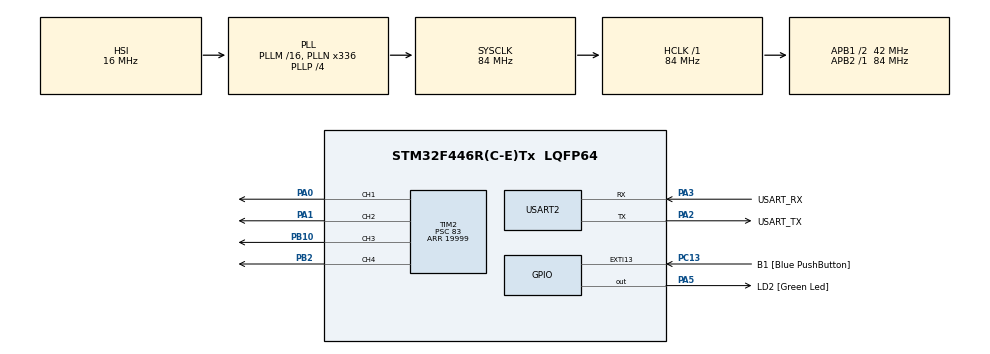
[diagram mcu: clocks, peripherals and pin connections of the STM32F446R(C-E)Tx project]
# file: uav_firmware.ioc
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Mcu.Family=STM32F4
Mcu.Name=STM32F446R(C-E)Tx
Mcu.Package=LQFP64
NVIC.PriorityGroup=NVIC_PRIORITYGROUP_0
PA0-WKUP.Signal=S_TIM2_CH1_ETR
PA1.Signal=S_TIM2_CH2
PA13.GPIO_Label=TMS
PA13.Mode=Serial_Wire
PA13.Signal=SYS_JTMS-SWDIO
PA14.GPIO_Label=TCK
PA14.Mode=Serial_Wire
PA14.Signal=SYS_JTCK-SWCLK
PA2.GPIO_Label=USART_TX
PA2.Mode=Asynchronous
PA2.Signal=USART2_TX
PA3.GPIO_Label=USART_RX
PA3.Mode=Asynchronous
PA3.Signal=USART2_RX
PA5.GPIO_Label=LD2 [Green Led]
PA5.Signal=GPIO_Output
PB10.Signal=S_TIM2_CH3
PB2.Signal=S_TIM2_CH4
PB3.GPIO_Label=SWO
PB3.Signal=SYS_JTDO-SWO
PC13.GPIO_Label=B1 [Blue PushButton]
PC13.GPIO_ModeDefaultEXTI=GPIO_MODE_IT_FALLING
PC13.Signal=GPXTI13
PC14-OSC32_IN.Mode=LSE-External-Oscillator
PC14-OSC32_IN.Signal=RCC_OSC32_IN
PC15-OSC32_OUT.Mode=LSE-External-Oscillator
PC15-OSC32_OUT.Signal=RCC_OSC32_OUT
PH0-OSC_IN.Mode=HSE-External-Oscillator
PH0-OSC_IN.Signal=RCC_OSC_IN
PH1-OSC_OUT.Mode=HSE-External-Oscillator
PH1-OSC_OUT.Signal=RCC_OSC_OUT
ProjectManager.HeapSize=0x200
ProjectManager.StackSize=0x400
ProjectManager.TargetToolchain=STM32CubeIDE
RCC.48MHZClocksFreq_Value=84000000
RCC.AHBFreq_Value=84000000
RCC.APB1CLKDivider=RCC_HCLK_DIV2
RCC.APB1Freq_Value=42000000
RCC.APB1TimFreq_Value=84000000
RCC.APB2Freq_Value=84000000
RCC.APB2TimFreq_Value=84000000
RCC.CortexFreq_Value=84000000
RCC.FLatency-AdvancedSettings=FLASH_LATENCY_2
RCC.HCLKFreq_Value=84000000
RCC.HSE_VALUE=8000000
RCC.HSI_VALUE=16000000
RCC.PLLN=336
RCC.PLLP=RCC_PLLP_DIV4
RCC.SYSCLKFreq_VALUE=84000000
RCC.SYSCLKSource=RCC_SYSCLKSOURCE_PLLCLK
RCC.USBFreq_Value=168000000
RCC.VCOOutputFreq_Value=336000000
SH.S_TIM2_CH1_ETR.0=TIM2_CH1,PWM Generation1 CH1
SH.S_TIM2_CH2.0=TIM2_CH2,PWM Generation2 CH2
SH.S_TIM2_CH3.0=TIM2_CH3,PWM Generation3 CH3
SH.S_TIM2_CH4.0=TIM2_CH4,PWM Generation4 CH4
TIM2.Channel-PWM\ Generation1\ CH1=TIM_CHANNEL_1
TIM2.Channel-PWM\ Generation2\ CH2=TIM_CHANNEL_2
TIM2.Channel-PWM\ Generation3\ CH3=TIM_CHANNEL_3
TIM2.Channel-PWM\ Generation4\ CH4=TIM_CHANNEL_4
TIM2.Period=19999
TIM2.Prescaler=83
USART2.VirtualMode=VM_ASYNC
VP_TIM2_VS_ClockSourceINT.Mode=Internal
board=NUCLEO-F446RE

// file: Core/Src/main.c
/* USER CODE BEGIN Header */
/**
  ******************************************************************************
  * @file           : main.c
  * @brief          : Main program body
  ******************************************************************************
  * @attention
  *
  * Copyright (c) 2026 STMicroelectronics.
  * All rights reserved.
  *
  * This software is licensed under terms that can be found in the LICENSE file
  * in the root directory of this software component.
  * If no LICENSE file comes with this software, it is provided AS-IS.
  *
  ******************************************************************************
  */
/* USER CODE END Header */
#include "main.h"

/* USER CODE BEGIN Includes */
#include <string.h>
#include <stdio.h>

/* USER CODE END Includes */

TIM_HandleTypeDef htim2;

UART_HandleTypeDef huart2;

/* USER CODE BEGIN PV */
uint8_t rx_byte;
char rx_buffer[64];
uint8_t rx_index = 0;

uint16_t throttle_pwm = 1500;
uint16_t roll_pwm     = 1500;
uint16_t pitch_pwm    = 1500;
uint16_t yaw_pwm      = 1500;
/* USER CODE END PV */

void SystemClock_Config(void);
static void MX_GPIO_Init(void);
static void MX_USART2_UART_Init(void);
static void MX_TIM2_Init(void);
/* USER CODE BEGIN PFP */
void Process_Controller_UART(void);
void Parse_Controller_Message(char *msg);
void Set_Ailerons_From_Roll(uint16_t roll);
void Set_Ruddervators(uint16_t pitch, uint16_t yaw);
uint16_t clamp_pwm(int value);
/* USER CODE END PFP */

int main(void)
{

  /* MCU Configuration--------------------------------------------------------*/

  /* Reset of all peripherals, Initializes the Flash interface and the Systick. */
  HAL_Init();

  /* Configure the system clock */
  SystemClock_Config();

  /* Initialize all configured peripherals */
  MX_GPIO_Init();
  MX_USART2_UART_Init();
  MX_TIM2_Init();
  /* USER CODE BEGIN 2 */

  HAL_TIM_PWM_Start(&htim2, TIM_CHANNEL_1); // Left Wing Aileron Servo
  HAL_TIM_PWM_Start(&htim2, TIM_CHANNEL_2); // Right Wing Aileron Servo
  HAL_TIM_PWM_START(&htim2, TIM_CHANNEL_3); // Ruddervator 1
  HAL_TIM_PWM_START(&htim2, TIM_CHANNEL_4); // Ruddervator 2
  // Initialize to default/neutral position immediately
  __HAL_TIM_SET_COMPARE(&htim2, TIM_CHANNEL_1, 1500);
  __HAL_TIM_SET_COMPARE(&htim2, TIM_CHANNEL_2, 1500 );
  __HAL_TIM_SET_COMPARE(&htim2, TIM_CHANNEL_3, 1500);
  __HAL_TIM_SET_COMPARE(&htim2, TIM_CHANNEL_4, 1500);

  //

  /* USER CODE END 2 */

  /* Infinite loop */
  while (1)
  {

  }
}

void SystemClock_Config(void)
{
  RCC_OscInitTypeDef RCC_OscInitStruct = {0};
  RCC_ClkInitTypeDef RCC_ClkInitStruct = {0};

  /** Configure the main internal regulator output voltage
  */
  __HAL_RCC_PWR_CLK_ENABLE();
  __HAL_PWR_VOLTAGESCALING_CONFIG(PWR_REGULATOR_VOLTAGE_SCALE3);

  /** Initializes the RCC Oscillators according to the specified parameters
  * in the RCC_OscInitTypeDef structure.
  */
  RCC_OscInitStruct.OscillatorType = RCC_OSCILLATORTYPE_HSI;
  RCC_OscInitStruct.HSIState = RCC_HSI_ON;
  RCC_OscInitStruct.HSICalibrationValue = RCC_HSICALIBRATION_DEFAULT;
  RCC_OscInitStruct.PLL.PLLState = RCC_PLL_ON;
  RCC_OscInitStruct.PLL.PLLSource = RCC_PLLSOURCE_HSI;
  RCC_OscInitStruct.PLL.PLLM = 16;
  RCC_OscInitStruct.PLL.PLLN = 336;
  RCC_OscInitStruct.PLL.PLLP = RCC_PLLP_DIV4;
  RCC_OscInitStruct.PLL.PLLQ = 2;
  RCC_OscInitStruct.PLL.PLLR = 2;
  if (HAL_RCC_OscConfig(&RCC_OscInitStruct) != HAL_OK)
  {
    Error_Handler();
  }

  /** Initializes the CPU, AHB and APB buses clocks
  */
  RCC_ClkInitStruct.ClockType = RCC_CLOCKTYPE_HCLK|RCC_CLOCKTYPE_SYSCLK
                              |RCC_CLOCKTYPE_PCLK1|RCC_CLOCKTYPE_PCLK2;
  RCC_ClkInitStruct.SYSCLKSource = RCC_SYSCLKSOURCE_PLLCLK;
  RCC_ClkInitStruct.AHBCLKDivider = RCC_SYSCLK_DIV1;
  RCC_ClkInitStruct.APB1CLKDivider = RCC_HCLK_DIV2;
  RCC_ClkInitStruct.APB2CLKDivider = RCC_HCLK_DIV1;

  if (HAL_RCC_ClockConfig(&RCC_ClkInitStruct, FLASH_LATENCY_2) != HAL_OK)
  {
    Error_Handler();
  }
}

static void MX_TIM2_Init(void)
{

  TIM_ClockConfigTypeDef sClockSourceConfig = {0};
  TIM_MasterConfigTypeDef sMasterConfig = {0};
  TIM_OC_InitTypeDef sConfigOC = {0};

  htim2.Instance = TIM2;
  htim2.Init.Prescaler = 83;
  htim2.Init.CounterMode = TIM_COUNTERMODE_UP;
  htim2.Init.Period = 19999;
  htim2.Init.ClockDivision = TIM_CLOCKDIVISION_DIV1;
  htim2.Init.AutoReloadPreload = TIM_AUTORELOAD_PRELOAD_DISABLE;
  if (HAL_TIM_Base_Init(&htim2) != HAL_OK)
  {
    Error_Handler();
  }
  sClockSourceConfig.ClockSource = TIM_CLOCKSOURCE_INTERNAL;
  if (HAL_TIM_ConfigClockSource(&htim2, &sClockSourceConfig) != HAL_OK)
  {
    Error_Handler();
  }
  if (HAL_TIM_PWM_Init(&htim2) != HAL_OK)
  {
    Error_Handler();
  }
  sMasterConfig.MasterOutputTrigger = TIM_TRGO_RESET;
  sMasterConfig.MasterSlaveMode = TIM_MASTERSLAVEMODE_DISABLE;
  if (HAL_TIMEx_MasterConfigSynchronization(&htim2, &sMasterConfig) != HAL_OK)
  {
    Error_Handler();
  }
  sConfigOC.OCMode = TIM_OCMODE_PWM1;
  sConfigOC.Pulse = 0;
  sConfigOC.OCPolarity = TIM_OCPOLARITY_HIGH;
  sConfigOC.OCFastMode = TIM_OCFAST_DISABLE;
  if (HAL_TIM_PWM_ConfigChannel(&htim2, &sConfigOC, TIM_CHANNEL_1) != HAL_OK)
  {
    Error_Handler();
  }
  if (HAL_TIM_PWM_ConfigChannel(&htim2, &sConfigOC, TIM_CHANNEL_2) != HAL_OK)
  {
    Error_Handler();
  }
  if (HAL_TIM_PWM_ConfigChannel(&htim2, &sConfigOC, TIM_CHANNEL_3) != HAL_OK)
  {
    Error_Handler();
  }
  if (HAL_TIM_PWM_ConfigChannel(&htim2, &sConfigOC, TIM_CHANNEL_4) != HAL_OK)
  {
    Error_Handler();
  }
  HAL_TIM_MspPostInit(&htim2);

}

static void MX_USART2_UART_Init(void)
{

  huart2.Instance = USART2;
  huart2.Init.BaudRate = 115200;
  huart2.Init.WordLength = UART_WORDLENGTH_8B;
  huart2.Init.StopBits = UART_STOPBITS_1;
  huart2.Init.Parity = UART_PARITY_NONE;
  huart2.Init.Mode = UART_MODE_TX_RX;
  huart2.Init.HwFlowCtl = UART_HWCONTROL_NONE;
  huart2.Init.OverSampling = UART_OVERSAMPLING_16;
  if (HAL_UART_Init(&huart2) != HAL_OK)
  {
    Error_Handler();
  }

}

static void MX_GPIO_Init(void)
{
  GPIO_InitTypeDef GPIO_InitStruct = {0};

  /* GPIO Ports Clock Enable */
  __HAL_RCC_GPIOC_CLK_ENABLE();
  __HAL_RCC_GPIOH_CLK_ENABLE();
  __HAL_RCC_GPIOA_CLK_ENABLE();
  __HAL_RCC_GPIOB_CLK_ENABLE();

  /*Configure GPIO pin Output Level */
  HAL_GPIO_WritePin(LD2_GPIO_Port, LD2_Pin, GPIO_PIN_RESET);

  /*Configure GPIO pin : B1_Pin */
  GPIO_InitStruct.Pin = B1_Pin;
  GPIO_InitStruct.Mode = GPIO_MODE_IT_FALLING;
  GPIO_InitStruct.Pull = GPIO_NOPULL;
  HAL_GPIO_Init(B1_GPIO_Port, &GPIO_InitStruct);

  /*Configure GPIO pin : LD2_Pin */
  GPIO_InitStruct.Pin = LD2_Pin;
  GPIO_InitStruct.Mode = GPIO_MODE_OUTPUT_PP;
  GPIO_InitStruct.Pull = GPIO_NOPULL;
  GPIO_InitStruct.Speed = GPIO_SPEED_FREQ_LOW;
  HAL_GPIO_Init(LD2_GPIO_Port, &GPIO_InitStruct);

}

/* USER CODE BEGIN 4 */
void Set_Ailerons_From_Roll(uint16_t roll)
{
  int deflection = (int)roll - 1500;

  uint16_t left_servo  = clamp_pwm(1500 + deflection);
  uint16_t right_servo = clamp_pwm(1500 + deflection);

  __HAL_TIM_SET_COMPARE(&htim2, TIM_CHANNEL_1, left_servo);
  __HAL_TIM_SET_COMPARE(&htim2, TIM_CHANNEL_2, right_servo);
}

void Set_Ruddervators(uint16_t pitch, uint16_t yaw) {
	int deflection_pitch = (int)pitch - 1500;
	int deflection_yaw = (int)yaw - 1500;

	uint16_t left_servo = clamp_pwm(1500 + deflection_pitch + deflection_yaw);
	uint16_t right_servo = clamp_pwm(1500 + deflection_pitch - deflection_yaw);

	__HAL_TIM_SET_COMPARE(&htim2, TIM_CHANNEL_3, left_servo);
	__HAL_TIM_SET_COMPARE(&htim2, TIM_CHANNEL_4, right_servo);
}

uint16_t clamp_pwm(int value)
{
  if (value < 1000) return 1000;
  if (value > 2000) return 2000;
  return (uint16_t)value;
}

void Parse_Controller_Message(char *msg)
{
  int t, r, p, y;
  // Expected format: T1500R1500P1500Y1500\n
  if (sscanf(msg, "T%dR%dP%dY%d", &t, &r, &p, &y) == 4) // the == 4 to ensure all 4 values are received.
  {
    throttle_pwm = clamp_pwm(t);
    roll_pwm     = clamp_pwm(r);
    pitch_pwm    = clamp_pwm(p);
    yaw_pwm      = clamp_pwm(y);

    Set_Ailerons_From_Roll(roll_pwm);
    Set_Ruddervators(pitch_pwm, yaw_pwm);
  }
}

void Process_Controller_UART(void)
{
  // Non-blocking check for 1 byte at a time
  if (HAL_UART_Receive(&huart2, &rx_byte, 1, 0) == HAL_OK)
  {
    if (rx_byte == '\n')
    {
      rx_buffer[rx_index] = '\0';
      Parse_Controller_Message(rx_buffer);
      rx_index = 0;
      memset(rx_buffer, 0, sizeof(rx_buffer));  // After the buffer (aka the complete message string) is passed to the controller, reset buffer to 0s
    }
    else if (rx_byte != '\r') // ignore carraige return since a message can be like HELLO\r\n we do not care about \r since \n already indicates the next message.
    {
      if (rx_index < sizeof(rx_buffer) - 1)
      {
        rx_buffer[rx_index++] = rx_byte;
      }
      else
      {
        rx_index = 0;
        memset(rx_buffer, 0, sizeof(rx_buffer)); // if somehow the entire buffer (64 bytes/chars) is used without seeing the \n indicating the message ended. We wipe everything in the buffer and move on.
      }
    }
  }
}
/* USER CODE END 4 */

void Error_Handler(void)
{
  __disable_irq();
  while (1)
  {
  }
}
